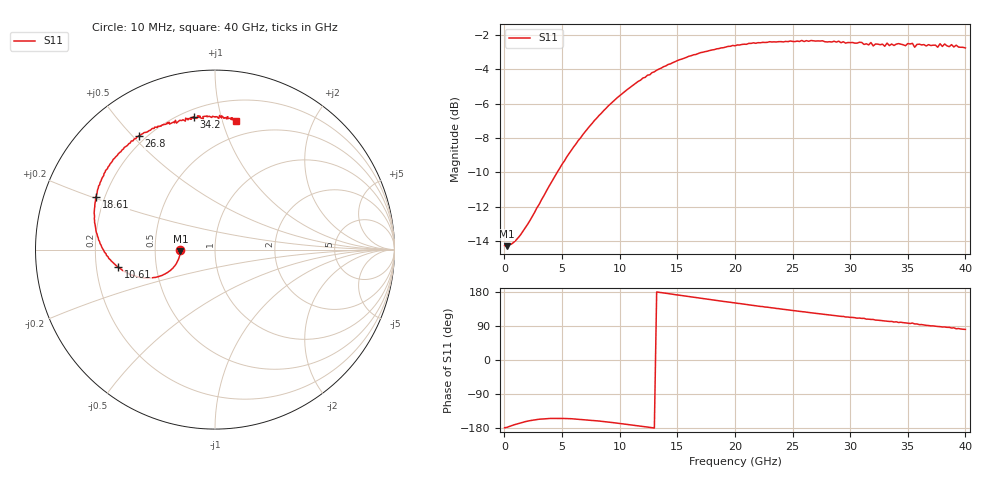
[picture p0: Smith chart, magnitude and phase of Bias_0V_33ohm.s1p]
!Agilent Technologies,N5227A,US51270434,A.10.00.00
!Agilent N5227A: A.10.00.00
!Date: Monday, March 30, 2026 11:27:03
!Correction: S11(Full 1 Port(1))
!S1P File: Measurement: S11:
# Hz S  dB  R 50
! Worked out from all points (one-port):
!   201 points, 10 MHz to 40 GHz, reference 50 ohm
!   lowest |S11| = -14.3 dB at 209.9 MHz (marker M1), VSWR 1.48, Z = 33.8 - j0.536 ohm
!   |S11| at or under -10 dB: start of sweep to 4.571 GHz
!   S11 on the Smith chart (normalised r, x): 10 MHz: 0.68, -0.01; 10.61 GHz: 0.29, -0.08; 18.61 GHz: 0.17, +0.20; 26.8 GHz: 0.17, +0.52; 34.2 GHz: 0.25, +0.82; 40 GHz: 0.37, +1.11
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1e7  -14.25 -178.7
2.0995e8  -14.28 -177.7
1.40965e9  -13.61 -165.8
5.00875e9  -9.51 -154.1
7.2082e9  -7.47 -158.1
1.00075e10  -5.54 -167.4
1.060735e10  -5.21 -169.8
1.28068e10  -4.21 -178.7
1.500625e10  -3.50 171.8
1.860535e10  -2.81 156.3
2.0005e10  -2.65 150.7
2.500375e10  -2.39 130.7
2.68033e10  -2.36 123.9
3.00025e10  -2.46 112.4
3.12022e10  -2.57 109.9
3.380155e10  -2.63 100.2
3.40015e10  -2.55 100.8
3.420145e10  -2.52 99.0
3.500125e10  -2.52 97.2
3.540115e10  -2.50 97.6
3.56011e10  -2.73 95.1
3.6001e10  -2.55 93.3
3.76006e10  -2.73 88.4
3.820045e10  -2.54 87.2
3.88003e10  -2.58 84.4
3.900025e10  -2.72 85.0
3.92002e10  -2.61 82.5
4e10  -2.77 80.7
